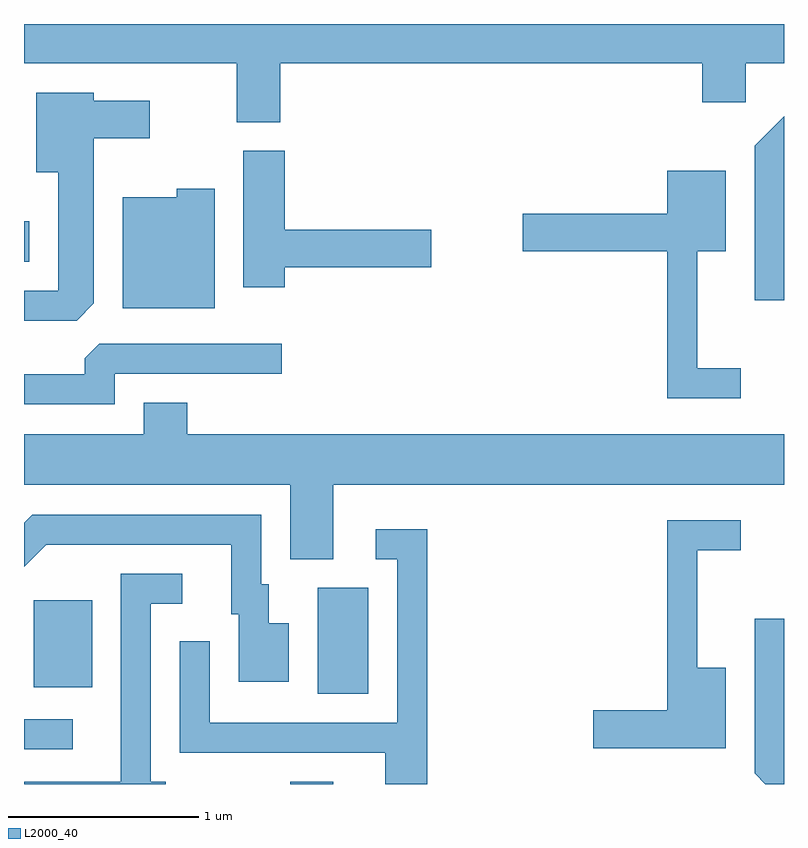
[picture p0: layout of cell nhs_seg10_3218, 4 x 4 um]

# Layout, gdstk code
import gdstk
lib = gdstk.Library(unit=1e-6, precision=1e-09)
def R(c, l, rs):  # rectangles x0, y0, x1, y1
    for r in rs: c.add(gdstk.rectangle(r[:2], r[2:], *l))
def P(c, l, *ps):  # polygons
    for p in ps: c.add(gdstk.Polygon(p, *l))
L2000_40 = (2000, 40)

nhs_seg10_3218 = lib.new_cell('nhs_seg10_3218')
R(nhs_seg10_3218, L2000_40, [(281.011,2154.522,281.239,2154.534), (279.611,2154.706,279.868,2154.864), (281.156,2154.996,281.424,2155.554), (279.661,2155.031,279.969,2155.489), (279.611,2157.271,279.639,2157.484)])
P(nhs_seg10_3218, L2000_40, [(280.959,2158.316),(283.181,2158.316),(283.181,2158.111),(283.409,2158.111),(283.409,2158.316),(283.611,2158.316),(283.611,2158.522),(279.611,2158.522),(279.611,2158.316),(280.731,2158.316),(280.731,2158.006),(280.959,2158.006)],
  [(279.979,2157.052),(279.979,2157.921),(280.274,2157.921),(280.274,2158.119),(279.979,2158.119),(279.979,2158.159),(279.676,2158.159),(279.676,2157.741),(279.791,2157.741),(279.791,2157.119),(279.611,2157.119),(279.611,2156.961),(279.889,2156.961)],
  [(283.611,2158.036),(283.456,2157.882),(283.456,2157.068),(283.611,2157.068)],
  [(280.984,2157.241),(281.754,2157.241),(281.754,2157.439),(280.984,2157.439),(280.984,2157.854),(280.766,2157.854),(280.766,2157.136),(280.984,2157.136)],
  [(283.383,2156.709),(283.154,2156.709),(283.154,2157.326),(283.304,2157.326),(283.304,2157.749),(282.996,2157.749),(282.996,2157.524),(282.236,2157.524),(282.236,2157.326),(282.996,2157.326),(282.996,2156.551),(283.383,2156.551)],
  [(280.614,2157.654),(280.416,2157.654),(280.416,2157.609),(280.131,2157.609),(280.131,2157.026),(280.614,2157.026)],
  [(280.089,2156.681),(280.968,2156.681),(280.968,2156.839),(280.007,2156.839),(279.931,2156.764),(279.931,2156.679),(279.611,2156.679),(279.611,2156.521),(280.089,2156.521)],
  [(281.239,2156.096),(283.611,2156.096),(283.611,2156.364),(280.469,2156.364),(280.469,2156.529),(280.241,2156.529),(280.241,2156.364),(279.611,2156.364),(279.611,2156.096),(281.011,2156.096),(281.011,2155.706),(281.239,2155.706)],
  [(281.004,2155.369),(280.899,2155.369),(280.899,2155.574),(280.859,2155.574),(280.859,2155.939),(279.654,2155.939),(279.611,2155.896),(279.611,2155.666),(279.727,2155.781),(280.701,2155.781),(280.701,2155.416),(280.741,2155.416),(280.741,2155.061),(281.004,2155.061)],
  [(283.304,2155.134),(283.154,2155.134),(283.154,2155.751),(283.383,2155.751),(283.383,2155.909),(282.996,2155.909),(282.996,2154.909),(282.606,2154.909),(282.606,2154.711),(283.304,2154.711)],
  [(281.734,2155.864),(281.463,2155.864),(281.463,2155.706),(281.576,2155.706),(281.576,2154.844),(280.589,2154.844),(280.589,2155.273),(280.431,2155.273),(280.431,2154.686),(281.511,2154.686),(281.511,2154.522),(281.734,2154.522)],
  [(280.358,2154.534),(280.279,2154.534),(280.279,2155.471),(280.443,2155.471),(280.443,2155.629),(280.121,2155.629),(280.121,2154.534),(279.611,2154.534),(279.611,2154.522),(280.358,2154.522)],
  [(283.611,2155.393),(283.456,2155.393),(283.456,2154.579),(283.513,2154.522),(283.611,2154.522)])

lib.write_gds('nhs_seg10_3218.gds')
